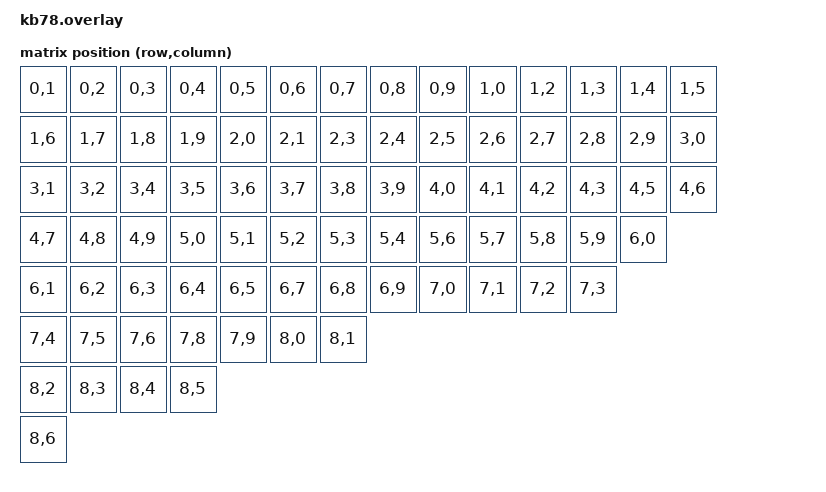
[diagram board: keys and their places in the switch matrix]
/*
 * KB78 本体（XIAO nRF52840 Plus 用）
 *
 * キー読み取り: チャーリープレックス 10ピン（10×9 = 90ポジション中 79 を使用）
 * ピン割り当ては仮。基板設計で確定させる。
 *
 *   gpios の順番  0   1   2   3   4   5   6   7   8   9
 *   XIAO のピン   D0  D1  D2  D3  D6  D7  D8  D9  D10 D17(P1.03, 裏面)
 *
 * 他の機能の予定（まだ設定していない）
 *   D4/D5 = タッチパッド I2C、D12/D13 = タッチパッド RDY/RST、
 *   D18 = LED データ、D19 = LED 電源、D11 = キー読み取りの割り込み（任意）
 */

#include <dt-bindings/zmk/matrix_transform.h>
#include "kb78-layouts.dtsi"

&physical_layout0 {
    kscan = <&kscan0>;
    transform = <&default_transform>;
};

/ {
    chosen {
        zmk,kscan = &kscan0;
        zmk,physical-layout = &physical_layout0;
    };

    kscan0: kscan0 {
        compatible = "zmk,kscan-gpio-charlieplex";
        gpios
            = <&xiao_d 0 GPIO_ACTIVE_HIGH>
            , <&xiao_d 1 GPIO_ACTIVE_HIGH>
            , <&xiao_d 2 GPIO_ACTIVE_HIGH>
            , <&xiao_d 3 GPIO_ACTIVE_HIGH>
            , <&xiao_d 6 GPIO_ACTIVE_HIGH>
            , <&xiao_d 7 GPIO_ACTIVE_HIGH>
            , <&xiao_d 8 GPIO_ACTIVE_HIGH>
            , <&xiao_d 9 GPIO_ACTIVE_HIGH>
            , <&xiao_d 10 GPIO_ACTIVE_HIGH>
            , <&gpio1 3 GPIO_ACTIVE_HIGH>
            ;
    };

    // RC(出力ピン, 入力ピン)。並びは keymap のキー番号 0〜78 の順
    default_transform: keymap_transform_0 {
        compatible = "zmk,matrix-transform";
        rows = <10>;
        columns = <10>;
        map = <
            RC(0,1) RC(0,2) RC(0,3) RC(0,4) RC(0,5) RC(0,6) RC(0,7) RC(0,8) RC(0,9) RC(1,0) RC(1,2) RC(1,3) RC(1,4) RC(1,5)
            RC(1,6) RC(1,7) RC(1,8) RC(1,9) RC(2,0) RC(2,1) RC(2,3) RC(2,4) RC(2,5) RC(2,6) RC(2,7) RC(2,8) RC(2,9) RC(3,0)
            RC(3,1) RC(3,2) RC(3,4) RC(3,5) RC(3,6) RC(3,7) RC(3,8) RC(3,9) RC(4,0) RC(4,1) RC(4,2) RC(4,3) RC(4,5) RC(4,6)
            RC(4,7) RC(4,8) RC(4,9) RC(5,0) RC(5,1) RC(5,2) RC(5,3) RC(5,4) RC(5,6) RC(5,7) RC(5,8) RC(5,9) RC(6,0)
            RC(6,1) RC(6,2) RC(6,3) RC(6,4) RC(6,5) RC(6,7) RC(6,8) RC(6,9) RC(7,0) RC(7,1) RC(7,2) RC(7,3)
            RC(7,4) RC(7,5) RC(7,6) RC(7,8) RC(7,9) RC(8,0) RC(8,1)
            RC(8,2) RC(8,3) RC(8,4) RC(8,5)
            RC(8,6)
        >;
    };
};
